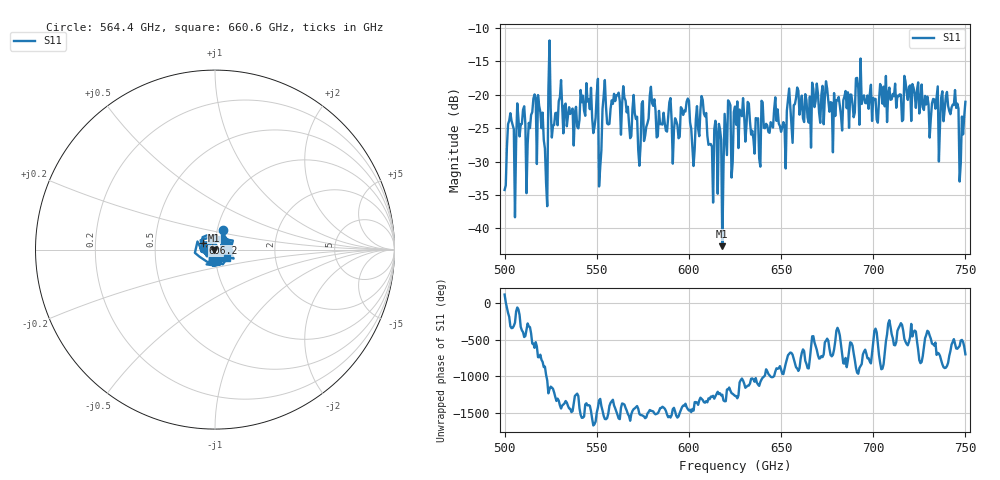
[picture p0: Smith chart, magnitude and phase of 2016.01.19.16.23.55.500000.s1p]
!Created with skrf (http://scikit-rf.org).
# GHz S RI R 50.0
!freq ReS11 ImS11
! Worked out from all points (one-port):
!   401 points, 500 GHz to 750 GHz, reference 50 ohm
!   lowest |S11| = -42.7 dB at 618.1 GHz (marker M1), VSWR 1.01, Z = 49.3 - j0.139 ohm
!   |S11| at or under -10 dB: start of sweep to end of sweep
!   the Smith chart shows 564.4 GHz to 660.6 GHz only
!   S11 on the Smith chart (normalised r, x): 564.4 GHz: 1.07, +0.23; 606.2 GHz: 0.87, +0.07; 660.6 GHz: 1.14, -0.11
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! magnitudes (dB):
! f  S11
! 500 GHz  -34.3
! 503.1 GHz  -22.8
! 512.5 GHz  -27.4
! 515.6 GHz  -20.6
! 519.4 GHz  -22.6
! 521.9 GHz  -28.1
! 525 GHz  -22.0
! 531.2 GHz  -21.8
! 545.6 GHz  -20.6
! 552.5 GHz  -28.3
! 554.4 GHz  -17.8
! 562.5 GHz  -20.9
! 564.4 GHz  -18.7
! 572.5 GHz  -28.3
! 580 GHz  -21.2
! 593.8 GHz  -24.5
! 602.5 GHz  -30.7
! 606.2 GHz  -22.2
! 618.1 GHz  -42.7
! 620.6 GHz  -29.0
! 625 GHz  -21.8
! 656.2 GHz  -27.2
! 660.6 GHz  -21.6
! 687.5 GHz  -19.9
! 718.8 GHz  -20.8
! 745 GHz  -22.0
! 748.1 GHz  -23.3
! 750 GHz  -21.0
